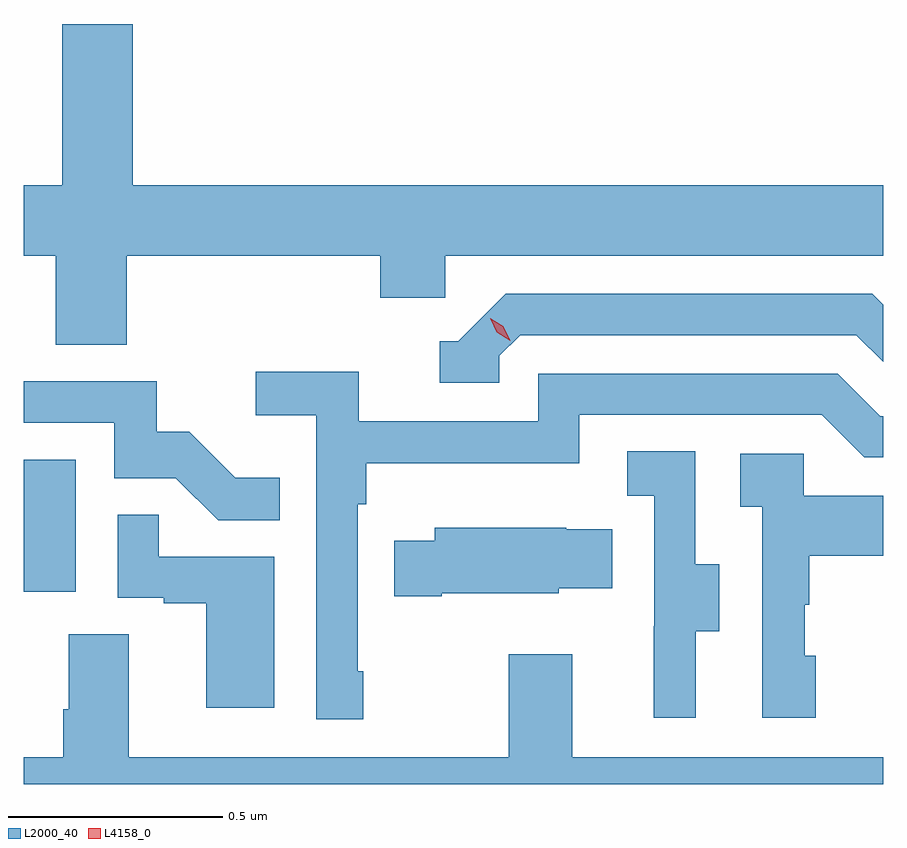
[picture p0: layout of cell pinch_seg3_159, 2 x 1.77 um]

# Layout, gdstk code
import gdstk
lib = gdstk.Library(unit=1e-6, precision=1e-09)
def R(c, l, rs):  # rectangles x0, y0, x1, y1
    for r in rs: c.add(gdstk.rectangle(r[:2], r[2:], *l))
def P(c, l, *ps):  # polygons
    for p in ps: c.add(gdstk.Polygon(p, *l))
L2000_40 = (2000, 40)
L4158_0 = (4158, 0)

pinch_seg3_159 = lib.new_cell('pinch_seg3_159')
R(pinch_seg3_159, L2000_40, [(1141.941,724.11,1142.062,724.417)])
P(pinch_seg3_159, L2000_40, [(1142.18,724.892),(1142.771,724.892),(1142.771,724.794),(1142.922,724.794),(1142.922,724.892),(1143.941,724.892),(1143.941,725.056),(1142.194,725.056),(1142.194,725.431),(1142.03,725.431),(1142.03,725.056),(1141.941,725.056),(1141.941,724.892),(1142.015,724.892),(1142.015,724.684),(1142.18,724.684)],
  [(1143.048,724.659),(1143.096,724.707),(1143.879,724.707),(1143.941,724.645),(1143.941,724.778),(1143.916,724.803),(1143.063,724.803),(1142.952,724.692),(1142.909,724.692),(1142.909,724.596),(1143.048,724.596)],
  [(1142.731,723.925),(1142.718,723.925),(1142.718,724.313),(1142.738,724.313),(1142.738,724.409),(1143.234,724.409),(1143.234,724.521),(1143.798,724.521),(1143.897,724.422),(1143.941,724.422),(1143.941,724.518),(1143.934,724.518),(1143.835,724.617),(1143.138,724.617),(1143.138,724.506),(1142.72,724.506),(1142.72,724.622),(1142.481,724.622),(1142.481,724.52),(1142.622,724.52),(1142.622,723.813),(1142.731,723.813)],
  [(1142.537,724.375),(1142.433,724.375),(1142.326,724.482),(1142.25,724.482),(1142.25,724.599),(1141.941,724.599),(1141.941,724.503),(1142.151,724.503),(1142.151,724.374),(1142.295,724.374),(1142.393,724.276),(1142.537,724.276)],
  [(1143.505,724.018),(1143.559,724.018),(1143.559,724.173),(1143.504,724.173),(1143.504,724.436),(1143.345,724.436),(1143.345,724.333),(1143.408,724.333),(1143.408,724.029),(1143.407,724.029),(1143.407,723.816),(1143.505,723.816)],
  [(1143.784,723.96),(1143.759,723.96),(1143.759,724.079),(1143.769,724.079),(1143.769,724.193),(1143.941,724.193),(1143.941,724.333),(1143.756,724.333),(1143.756,724.431),(1143.609,724.431),(1143.609,724.307),(1143.66,724.307),(1143.66,723.816),(1143.784,723.816)],
  [(1142.524,724.191),(1142.255,724.191),(1142.255,724.289),(1142.16,724.289),(1142.16,724.095),(1142.267,724.095),(1142.267,724.083),(1142.366,724.083),(1142.366,723.84),(1142.524,723.84)],
  [(1142.914,724.106),(1143.186,724.106),(1143.186,724.118),(1143.311,724.118),(1143.311,724.255),(1143.203,724.255),(1143.203,724.258),(1142.897,724.258),(1142.897,724.228),(1142.803,724.228),(1142.803,724.099),(1142.914,724.099)],
  [(1143.941,723.724),(1143.217,723.724),(1143.217,723.964),(1143.07,723.964),(1143.07,723.724),(1142.185,723.724),(1142.185,724.01),(1142.045,724.01),(1142.045,723.836),(1142.033,723.836),(1142.033,723.724),(1141.941,723.724),(1141.941,723.662),(1143.941,723.662)])
P(pinch_seg3_159, L4158_0, [(1143.073,724.694),(1143.042,724.713),(1143.026,724.746),(1143.026,724.746),(1143.026,724.746),(1143.057,724.727),(1143.073,724.695),(1143.073,724.694)])

lib.write_gds('pinch_seg3_159.gds')
